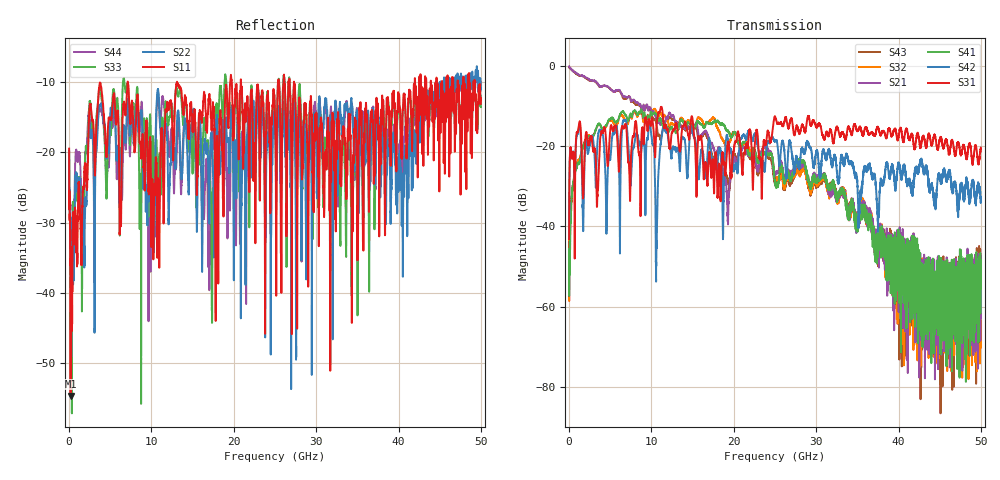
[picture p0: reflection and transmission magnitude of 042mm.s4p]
!Agilent Technologies,N5245A,MY51251349,A.09.33.09
!Agilent N5245A: A.09.33.09
!Date: Wednesday, September 30, 2020 11:25:14
!Correction: S11(Full 4 Port(1,2,3,4))
!S12(Full 4 Port(1,2,3,4))
!S13(Full 4 Port(1,2,3,4))
!S14(Full 4 Port(1,2,3,4))
!S21(Full 4 Port(1,2,3,4))
!S22(Full 4 Port(1,2,3,4))
!S23(Full 4 Port(1,2,3,4))
!S24(Full 4 Port(1,2,3,4))
!S31(Full 4 Port(1,2,3,4))
!S32(Full 4 Port(1,2,3,4))
!S33(Full 4 Port(1,2,3,4))
!S34(Full 4 Port(1,2,3,4))
!S41(Full 4 Port(1,2,3,4))
!S42(Full 4 Port(1,2,3,4))
!S43(Full 4 Port(1,2,3,4))
!S44(Full 4 Port(1,2,3,4))
!S4P File: Measurements: <S11,S12,S13,S14>,
!<S21,S22,S23,S24>,
!<S31,S32,S33,S34>,
!<S41,S42,S43,S44>:
# Hz S  dB  R 50
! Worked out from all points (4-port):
!   6401 points, 10 MHz to 50 GHz, reference 50 ohm
!   strongest paths, dB at 10 MHz, 12.51 GHz, 25 GHz, 37.5 GHz, 50 GHz:
!     S31: -43.1, -16.7, -12.7, -15.3, -20.4
!     S42: -42.8, -21.6, -18.8, -40.1, -33.0
!     S41: -45.8, -15.5, -29.4, -45.8, -55.3
!     S21: -0.1, -12.5, -27.0, -43.5, -54.8
!     S32: -40.2, -14.3, -27.9, -41.5, -50.3
!     S43: -0.3, -13.3, -28.9, -44.3, -55.4
!   lowest |S11| = -54.7 dB at 189.7 MHz (marker M1), VSWR 1.00, Z = 50.2 + j0.0447 ohm
!   |S11| at or under -10 dB: start of sweep to 7.117 GHz; 13.12 GHz to 19.57 GHz (6.445 GHz wide, 39.4 % of centre); 27.31 GHz to 41.97 GHz (14.65 GHz wide, 42.3 % of centre)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
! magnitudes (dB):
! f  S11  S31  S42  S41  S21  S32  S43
! 10 MHz  -19.5  -43.1  -42.8  -45.8  -0.1  -40.2  -0.3
! 189.7 MHz  -54.7  -20.5  -20.6  -37.5  -0.6  -38.6  -0.7
! 3.744 GHz  -10.1  -19.2  -16.0  -14.6  -5.1  -14.7  -5.2
! 10.65 GHz  -23.7  -14.2  -44.3  -12.3  -13.5  -11.6  -15.0
! 11.52 GHz  -27.9  -15.0  -15.5  -14.8  -14.8  -12.2  -14.3
! 17.5 GHz  -13.6  -25.1  -25.2  -14.1  -20.4  -12.9  -23.5
! 50 GHz  -12.3  -20.4  -33.0  -55.3  -54.8  -50.3  -55.4
